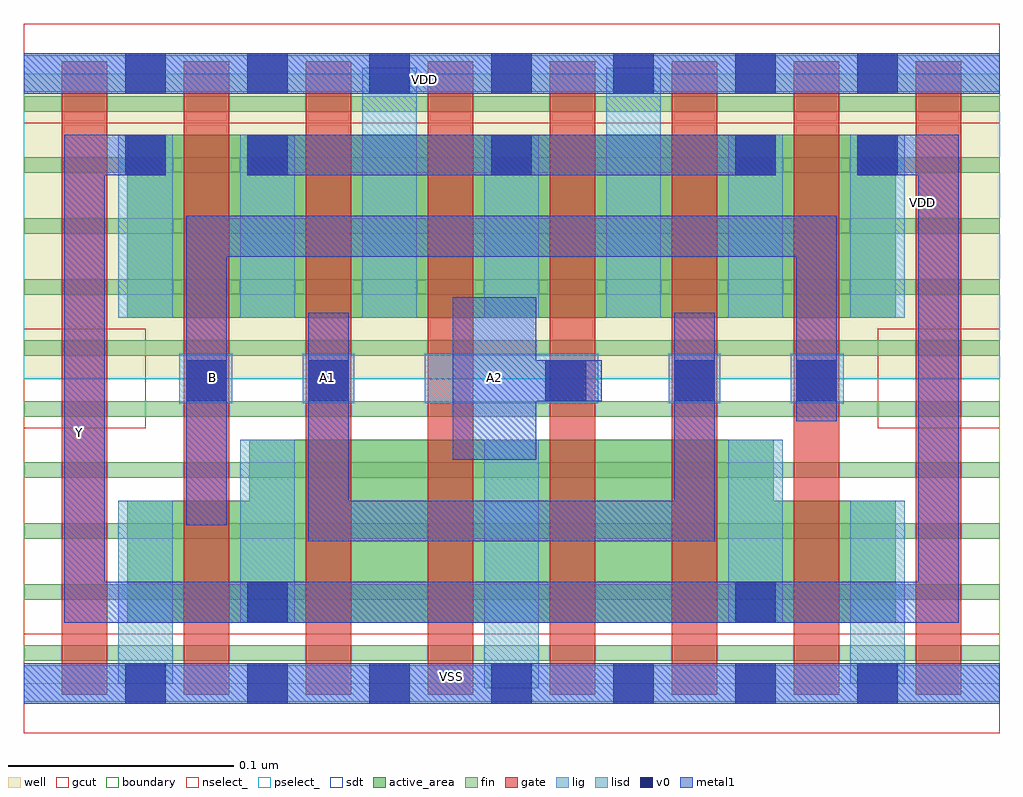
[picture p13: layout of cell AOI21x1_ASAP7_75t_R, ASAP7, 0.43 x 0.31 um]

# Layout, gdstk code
import gdstk
lib = gdstk.Library(unit=1e-6, precision=2.5e-10)
def R(c, l, rs):  # rectangles x0, y0, x1, y1
    for r in rs: c.add(gdstk.rectangle(r[:2], r[2:], *l))
def A(c, l, x, y, w, h, nx, ny, dx, dy):  # array of equal rectangles
    R(c, l, [(x+i*dx, y+j*dy, x+i*dx+w, y+j*dy+h) for i in range(nx) for j in range(ny)])
def P(c, l, *ps):  # polygons
    for p in ps: c.add(gdstk.Polygon(p, *l))
well = (1, 0)
fin = (2, 0)
gate = (7, 0)
gcut = (10, 0)
active_area = (11, 0)
nselect_ = (12, 0)
pselect_ = (13, 0)
lig = (16, 0)
lisd = (17, 0)
v0 = (18, 0)
metal1 = (19, 0)
sdt = (88, 0)
boundary = (100, 0)

aoi21x1_asap7_75t_r = lib.new_cell('AOI21x1_ASAP7_75t_R')
R(aoi21x1_asap7_75t_r, well, [(0,0.135,0.432,0.27)])
A(aoi21x1_asap7_75t_r, fin, 0, 0.01, 0.432, 0.007, 1, 10, 0, 0.027)
A(aoi21x1_asap7_75t_r, gate, 0.017, -0.005, 0.02, 0.2805, 8, 1, 0.054, 0)
R(aoi21x1_asap7_75t_r, gcut, [(0,-0.022,0.432,0.022), (0,0.113,0.054,0.157), (0.378,0.113,0.432,0.157), (0,0.248,0.432,0.292)])
R(aoi21x1_asap7_75t_r, active_area, [(0.046,0.162,0.386,0.243)])
P(aoi21x1_asap7_75t_r, active_area, [(0.386,0.081),(0.332,0.081),(0.332,0.108),(0.1,0.108),(0.1,0.081),(0.046,0.081),(0.046,0.027),(0.386,0.027)])
R(aoi21x1_asap7_75t_r, nselect_, [(0,0,0.432,0.135)])
R(aoi21x1_asap7_75t_r, pselect_, [(0,0.135,0.432,0.27)])
R(aoi21x1_asap7_75t_r, lig, [(0,-0.008,0.432,0.008), (0.069,0.124,0.0925,0.146), (0.1235,0.124,0.1465,0.146), (0.1775,0.124,0.2545,0.146), (0.2855,0.124,0.3085,0.146), (0.3395,0.124,0.363,0.146), (0,0.262,0.432,0.278)])
A(aoi21x1_asap7_75t_r, lisd, 0.096, 0.162, 0.024, 0.081, 3, 1, 0.108, 0)
R(aoi21x1_asap7_75t_r, lisd, [(0.204,-0.002,0.228,0.108), (0.042,0,0.066,0.081), (0.366,0,0.39,0.081), (0.096,0.027,0.12,0.108), (0.312,0.027,0.336,0.108), (0.042,0.162,0.066,0.243), (0.15,0.162,0.174,0.2725), (0.258,0.162,0.282,0.2725), (0.366,0.162,0.39,0.243)])
A(aoi21x1_asap7_75t_r, v0, 0.045, -0.009, 0.018, 0.018, 7, 2, 0.054, 0.27)
A(aoi21x1_asap7_75t_r, v0, 0.099, 0.225, 0.018, 0.018, 3, 1, 0.108, 0)
R(aoi21x1_asap7_75t_r, v0, [(0.099,0.027,0.117,0.045), (0.315,0.027,0.333,0.045), (0.072,0.125,0.09,0.143), (0.126,0.125,0.144,0.143), (0.231,0.125,0.249,0.143), (0.288,0.125,0.306,0.143), (0.342,0.125,0.36,0.143), (0.045,0.225,0.063,0.243), (0.369,0.225,0.387,0.243)])
R(aoi21x1_asap7_75t_r, metal1, [(0,-0.009,0.432,0.009), (0.099,0.225,0.333,0.243), (0,0.261,0.432,0.279)])
P(aoi21x1_asap7_75t_r, metal1, [(0.256,0.143),(0.227,0.143),(0.227,0.171),(0.19,0.171),(0.19,0.099),(0.227,0.099),(0.227,0.125),(0.256,0.125)],
  [(0.306,0.164),(0.288,0.164),(0.288,0.081),(0.144,0.081),(0.144,0.164),(0.126,0.164),(0.126,0.063),(0.306,0.063)],
  [(0.36,0.207),(0.072,0.207),(0.072,0.07),(0.09,0.07),(0.09,0.189),(0.342,0.189),(0.342,0.116),(0.36,0.116)],
  [(0.414,0.243),(0.369,0.243),(0.369,0.225),(0.396,0.225),(0.396,0.045),(0.036,0.045),(0.036,0.225),(0.063,0.225),(0.063,0.243),(0.018,0.243),(0.018,0.027),(0.414,0.027)])
A(aoi21x1_asap7_75t_r, sdt, 0.096, 0.027, 0.024, 0.081, 3, 1, 0.108, 0)
A(aoi21x1_asap7_75t_r, sdt, 0.042, 0.162, 0.024, 0.081, 7, 1, 0.054, 0)
R(aoi21x1_asap7_75t_r, sdt, [(0.042,0.027,0.066,0.081), (0.366,0.027,0.39,0.081)])
R(aoi21x1_asap7_75t_r, boundary, [(0,0,0.432,0.27)])
aoi21x1_asap7_75t_r.add(gdstk.Label('B', (0.0835,0.1355), layer=19, texttype=251))
aoi21x1_asap7_75t_r.add(gdstk.Label('A1', (0.1345,0.1355), layer=19, texttype=251))
aoi21x1_asap7_75t_r.add(gdstk.Label('A2', (0.2085,0.1355), layer=19, texttype=251))
aoi21x1_asap7_75t_r.add(gdstk.Label('VDD', (0.1775,0.2675), layer=19, texttype=251))
aoi21x1_asap7_75t_r.add(gdstk.Label('VSS', (0.1895,0.003), layer=19, texttype=251))
aoi21x1_asap7_75t_r.add(gdstk.Label('Y', (0.025,0.111), layer=19, texttype=251))
aoi21x1_asap7_75t_r.add(gdstk.Label('VDD', (0.398,0.213), layer=1, texttype=251))
aoi21x1_asap7_75t_r.add(gdstk.Label('VSS', (0.094,-0.038), layer=3, texttype=251))

lib.write_gds('AOI21x1_ASAP7_75t_R.gds')
